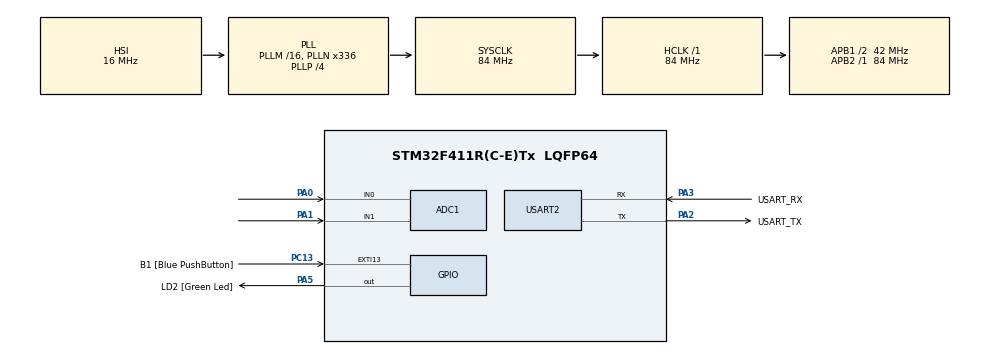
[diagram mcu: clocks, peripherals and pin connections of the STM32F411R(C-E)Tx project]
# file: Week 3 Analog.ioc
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ADC1.Channel-4\#ChannelRegularConversion=ADC_CHANNEL_1
ADC1.NbrOfConversionFlag=1
ADC1.Rank-4\#ChannelRegularConversion=1
ADC1.SamplingTime-4\#ChannelRegularConversion=ADC_SAMPLETIME_3CYCLES
ADC1.master=1
Mcu.Family=STM32F4
Mcu.Name=STM32F411R(C-E)Tx
Mcu.Package=LQFP64
NVIC.PriorityGroup=NVIC_PRIORITYGROUP_0
PA0-WKUP.Signal=ADCx_IN0
PA1.Signal=ADCx_IN1
PA13.GPIO_Label=TMS
PA13.Mode=Serial_Wire
PA13.Signal=SYS_JTMS-SWDIO
PA14.GPIO_Label=TCK
PA14.Mode=Serial_Wire
PA14.Signal=SYS_JTCK-SWCLK
PA2.GPIO_Label=USART_TX
PA2.Mode=Asynchronous
PA2.Signal=USART2_TX
PA3.GPIO_Label=USART_RX
PA3.Mode=Asynchronous
PA3.Signal=USART2_RX
PA5.GPIO_Label=LD2 [Green Led]
PA5.Signal=GPIO_Output
PB3.GPIO_Label=SWO
PB3.Signal=SYS_JTDO-SWO
PC13-ANTI_TAMP.GPIO_Label=B1 [Blue PushButton]
PC13-ANTI_TAMP.GPIO_ModeDefaultEXTI=GPIO_MODE_IT_FALLING
PC13-ANTI_TAMP.Signal=GPXTI13
PC14-OSC32_IN.Mode=LSE-External-Oscillator
PC14-OSC32_IN.Signal=RCC_OSC32_IN
PC15-OSC32_OUT.Mode=LSE-External-Oscillator
PC15-OSC32_OUT.Signal=RCC_OSC32_OUT
PH0\ -\ OSC_IN.Mode=HSE-External-Clock-Source
PH0\ -\ OSC_IN.Signal=RCC_OSC_IN
PH1\ -\ OSC_OUT.Mode=HSE-External-Clock-Source
PH1\ -\ OSC_OUT.Signal=RCC_OSC_OUT
ProjectManager.HeapSize=0x200
ProjectManager.StackSize=0x400
ProjectManager.TargetToolchain=STM32CubeIDE
RCC.48MHZClocksFreq_Value=84000000
RCC.AHBFreq_Value=84000000
RCC.APB1CLKDivider=RCC_HCLK_DIV2
RCC.APB1Freq_Value=42000000
RCC.APB1TimFreq_Value=84000000
RCC.APB2Freq_Value=84000000
RCC.APB2TimFreq_Value=84000000
RCC.CortexFreq_Value=84000000
RCC.FLatency-AdvancedSettings=FLASH_LATENCY_2
RCC.HCLKFreq_Value=84000000
RCC.HSE_VALUE=8000000
RCC.HSI_VALUE=16000000
RCC.PLLN=336
RCC.PLLP=RCC_PLLP_DIV4
RCC.SYSCLKFreq_VALUE=84000000
RCC.SYSCLKSource=RCC_SYSCLKSOURCE_PLLCLK
RCC.VCOOutputFreq_Value=336000000
SH.ADCx_IN0.0=ADC1_IN0,IN0
SH.ADCx_IN1.0=ADC1_IN1,IN1
USART2.VirtualMode=VM_ASYNC
VP_ADC1_TempSens_Input.Mode=IN-TempSens
board=NUCLEO-F411RE

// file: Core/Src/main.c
/* USER CODE BEGIN Header */
/**
 ******************************************************************************
 * @file           : main.c
 * @brief          : Main program body
 ******************************************************************************
 * @attention
 *
 * Copyright (c) 2023 STMicroelectronics.
 * All rights reserved.
 *
 * This software is licensed under terms that can be found in the LICENSE file
 * in the root directory of this software component.
 * If no LICENSE file comes with this software, it is provided AS-IS.
 *
 ******************************************************************************
 */
/* USER CODE END Header */
#include "main.h"
#include <String.h>

ADC_HandleTypeDef hadc1;

UART_HandleTypeDef huart2;

/* USER CODE BEGIN PV */
typedef struct {
	ADC_ChannelConfTypeDef Config;
	uint32_t Data;
} ADCStructure;

ADCStructure ADCConvert[3] = { 0 };

/* USER CODE END PV */

void SystemClock_Config(void);
static void MX_GPIO_Init(void);
static void MX_USART2_UART_Init(void);
static void MX_ADC1_Init(void);
/* USER CODE BEGIN PFP */
void ADC_Read();
void ADC_Config();

/* USER CODE END PFP */

int main(void) {

	/* MCU Configuration--------------------------------------------------------*/

	/* Reset of all peripherals, Initializes the Flash interface and the Systick. */
	HAL_Init();

	/* Configure the system clock */
	SystemClock_Config();

	/* Initialize all configured peripherals */
	MX_GPIO_Init();
	MX_USART2_UART_Init();
	MX_ADC1_Init();
	/* USER CODE BEGIN 2 */
	ADC_Config();

	/* USER CODE END 2 */

	/* Infinite loop */
	/* USER CODE BEGIN WHILE */
	while (1) {
		ADC_Read();
		char Tx[10];
		sprintf(Tx, "%d\r\n", ADCConvert[0].Data);
		HAL_UART_Transmit(&huart2, Tx, strlen(Tx), HAL_MAX_DELAY);
		/* USER CODE END WHILE */

	}
}

void SystemClock_Config(void) {
	RCC_OscInitTypeDef RCC_OscInitStruct = { 0 };
	RCC_ClkInitTypeDef RCC_ClkInitStruct = { 0 };

	/** Configure the main internal regulator output voltage
	 */
	__HAL_RCC_PWR_CLK_ENABLE();
	__HAL_PWR_VOLTAGESCALING_CONFIG(PWR_REGULATOR_VOLTAGE_SCALE1);

	/** Initializes the RCC Oscillators according to the specified parameters
	 * in the RCC_OscInitTypeDef structure.
	 */
	RCC_OscInitStruct.OscillatorType = RCC_OSCILLATORTYPE_HSI;
	RCC_OscInitStruct.HSIState = RCC_HSI_ON;
	RCC_OscInitStruct.HSICalibrationValue = RCC_HSICALIBRATION_DEFAULT;
	RCC_OscInitStruct.PLL.PLLState = RCC_PLL_ON;
	RCC_OscInitStruct.PLL.PLLSource = RCC_PLLSOURCE_HSI;
	RCC_OscInitStruct.PLL.PLLM = 16;
	RCC_OscInitStruct.PLL.PLLN = 336;
	RCC_OscInitStruct.PLL.PLLP = RCC_PLLP_DIV4;
	RCC_OscInitStruct.PLL.PLLQ = 4;
	if (HAL_RCC_OscConfig(&RCC_OscInitStruct) != HAL_OK) {
		Error_Handler();
	}

	/** Initializes the CPU, AHB and APB buses clocks
	 */
	RCC_ClkInitStruct.ClockType = RCC_CLOCKTYPE_HCLK | RCC_CLOCKTYPE_SYSCLK
			| RCC_CLOCKTYPE_PCLK1 | RCC_CLOCKTYPE_PCLK2;
	RCC_ClkInitStruct.SYSCLKSource = RCC_SYSCLKSOURCE_PLLCLK;
	RCC_ClkInitStruct.AHBCLKDivider = RCC_SYSCLK_DIV1;
	RCC_ClkInitStruct.APB1CLKDivider = RCC_HCLK_DIV2;
	RCC_ClkInitStruct.APB2CLKDivider = RCC_HCLK_DIV1;

	if (HAL_RCC_ClockConfig(&RCC_ClkInitStruct, FLASH_LATENCY_2) != HAL_OK) {
		Error_Handler();
	}
}

static void MX_ADC1_Init(void) {

	ADC_ChannelConfTypeDef sConfig = { 0 };

	/** Configure the global features of the ADC (Clock, Resolution, Data Alignment and number of conversion)
	 */
	hadc1.Instance = ADC1;
	hadc1.Init.ClockPrescaler = ADC_CLOCK_SYNC_PCLK_DIV4;
	hadc1.Init.Resolution = ADC_RESOLUTION_12B;
	hadc1.Init.ScanConvMode = DISABLE;
	hadc1.Init.ContinuousConvMode = DISABLE;
	hadc1.Init.DiscontinuousConvMode = DISABLE;
	hadc1.Init.ExternalTrigConvEdge = ADC_EXTERNALTRIGCONVEDGE_NONE;
	hadc1.Init.ExternalTrigConv = ADC_SOFTWARE_START;
	hadc1.Init.DataAlign = ADC_DATAALIGN_RIGHT;
	hadc1.Init.NbrOfConversion = 1;
	hadc1.Init.DMAContinuousRequests = DISABLE;
	hadc1.Init.EOCSelection = ADC_EOC_SINGLE_CONV;
	if (HAL_ADC_Init(&hadc1) != HAL_OK) {
		Error_Handler();
	}

	/** Configure for the selected ADC regular channel its corresponding rank in the sequencer and its sample time.
	 */
	sConfig.Channel = ADC_CHANNEL_1;
	sConfig.Rank = 1;
	sConfig.SamplingTime = ADC_SAMPLETIME_3CYCLES;
	if (HAL_ADC_ConfigChannel(&hadc1, &sConfig) != HAL_OK) {
		Error_Handler();
	}

}

static void MX_USART2_UART_Init(void) {

	huart2.Instance = USART2;
	huart2.Init.BaudRate = 115200;
	huart2.Init.WordLength = UART_WORDLENGTH_8B;
	huart2.Init.StopBits = UART_STOPBITS_1;
	huart2.Init.Parity = UART_PARITY_NONE;
	huart2.Init.Mode = UART_MODE_TX_RX;
	huart2.Init.HwFlowCtl = UART_HWCONTROL_NONE;
	huart2.Init.OverSampling = UART_OVERSAMPLING_16;
	if (HAL_UART_Init(&huart2) != HAL_OK) {
		Error_Handler();
	}

}

static void MX_GPIO_Init(void) {
	GPIO_InitTypeDef GPIO_InitStruct = { 0 };

	/* GPIO Ports Clock Enable */
	__HAL_RCC_GPIOC_CLK_ENABLE();
	__HAL_RCC_GPIOH_CLK_ENABLE();
	__HAL_RCC_GPIOA_CLK_ENABLE();
	__HAL_RCC_GPIOB_CLK_ENABLE();

	/*Configure GPIO pin Output Level */
	HAL_GPIO_WritePin(LD2_GPIO_Port, LD2_Pin, GPIO_PIN_RESET);

	/*Configure GPIO pin : B1_Pin */
	GPIO_InitStruct.Pin = B1_Pin;
	GPIO_InitStruct.Mode = GPIO_MODE_IT_FALLING;
	GPIO_InitStruct.Pull = GPIO_NOPULL;
	HAL_GPIO_Init(B1_GPIO_Port, &GPIO_InitStruct);

	/*Configure GPIO pin : LD2_Pin */
	GPIO_InitStruct.Pin = LD2_Pin;
	GPIO_InitStruct.Mode = GPIO_MODE_OUTPUT_PP;
	GPIO_InitStruct.Pull = GPIO_NOPULL;
	GPIO_InitStruct.Speed = GPIO_SPEED_FREQ_LOW;
	HAL_GPIO_Init(LD2_GPIO_Port, &GPIO_InitStruct);

}

/* USER CODE BEGIN 4 */
void ADC_Config() {
	ADCConvert[0].Config.Channel = ADC_CHANNEL_0;
	ADCConvert[0].Config.Rank = 1;
	ADCConvert[0].Config.SamplingTime = ADC_SAMPLETIME_3CYCLES;

	ADCConvert[1].Config.Channel = ADC_CHANNEL_1;
	ADCConvert[1].Config.Rank = 1;
	ADCConvert[1].Config.SamplingTime = ADC_SAMPLETIME_3CYCLES;

	ADCConvert[2].Config.Channel = ADC_CHANNEL_TEMPSENSOR;
	ADCConvert[2].Config.Rank = 1;
	ADCConvert[2].Config.SamplingTime = ADC_SAMPLETIME_3CYCLES;
}

void ADC_Read() {
	register int i;
	for (i = 0; i < 3; ++i) {
		HAL_ADC_ConfigChannel(&hadc1, &ADCConvert[i].Config);
		HAL_ADC_Start(&hadc1);

		if (HAL_ADC_PollForConversion(&hadc1, 10) == HAL_OK) {
			ADCConvert[i].Data = HAL_ADC_GetValue(&hadc1);
		}

		HAL_ADC_Stop(&hadc1);
	}
}

/* USER CODE END 4 */

void Error_Handler(void) {
	__disable_irq();
	while (1) {
	}
}
